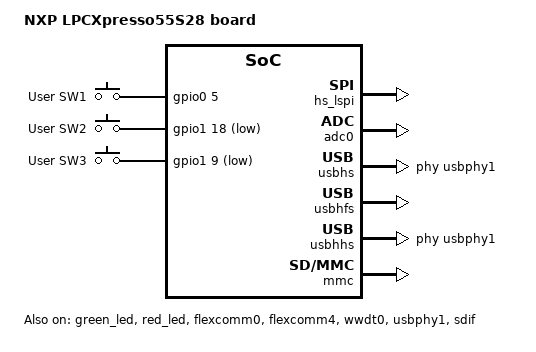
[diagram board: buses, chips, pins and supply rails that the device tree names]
/*
 * Copyright (c) 2020 Lemonbeat GmbH
 * Copyright 2023 NXP
 *
 * SPDX-License-Identifier: Apache-2.0
 */

/dts-v1/;

#include <nxp/nxp_lpc55S2x.dtsi>
#include "lpcxpresso55s28_common.dtsi"
#include <zephyr/dt-bindings/input/input-event-codes.h>

/ {
	compatible = "nxp,lpc55xxx", "nxp,lpc";
	model = "NXP LPCXpresso55S28 board";

	aliases {
		sw0 = &user_button_1;
		sw1 = &user_button_2;
		sw2 = &user_button_3;
		watchdog0 = &wwdt0;
		accel0 = &mma8652fc;
		mcuboot-button0 = &user_button_1;
	};

	chosen {
		zephyr,sram = &sram0;
		zephyr,flash = &flash0;
		zephyr,code-partition = &slot0_partition;
		zephyr,uart-mcumgr = &flexcomm0;
		zephyr,console = &flexcomm0;
		zephyr,shell-uart = &flexcomm0;
		zephyr,entropy = &rng;
		zephyr,flash-controller = &iap;
	};

	gpio_keys {
		compatible = "gpio-keys";

		user_button_1: button_0 {
			label = "User SW1";
			gpios = <&gpio0 5 (GPIO_ACTIVE_HIGH | GPIO_PULL_UP)>;
			zephyr,code = <INPUT_KEY_0>;
		};

		user_button_2: button_1 {
			label = "User SW2";
			gpios = <&gpio1 18 (GPIO_ACTIVE_LOW | GPIO_PULL_UP)>;
			zephyr,code = <INPUT_KEY_1>;
		};

		user_button_3: button_2 {
			label = "User SW3";
			gpios = <&gpio1 9 (GPIO_ACTIVE_LOW | GPIO_PULL_UP)>;
			zephyr,code = <INPUT_KEY_2>;
		};
	};
};

&gpio0 {
	status = "okay";
};

&gpio1 {
	status = "okay";
};

&green_led {
	status = "okay";
};

&red_led {
	status = "okay";
};

&flexcomm0 {
	status = "okay";
};

&flexcomm4 {
	status = "okay";
};

&hs_lspi {
	dmas = <&dma0 2>, <&dma0 3>;
	dma-names = "rx", "tx";
	status = "okay";
};

&wwdt0 {
	status = "okay";
};

&adc0 {
	pinctrl-0 = <&pinmux_lpadc0>;
	pinctrl-names = "default";
	status = "okay";
};

&dma0 {
	status = "okay";
};

&flash0 {
	partitions {
		compatible = "fixed-partitions";
		#address-cells = <1>;
		#size-cells = <1>;

		boot_partition: partition@0 {
			reg = <0x0 DT_SIZE_K(32)>;
			label = "mcuboot";
		};

		slot0_partition: partition@8000 {
			reg = <0x00008000 DT_SIZE_K(208)>;
			label = "image-0";
		};

		slot1_partition: partition@3C000 {
			reg = <0x0003C000 DT_SIZE_K(208)>;
			label = "image-1";
		};

		storage_partition: partition@70000 {
			reg = <0x00070000 DT_SIZE_K(52)>;
			label = "storage";
		};
		/* The last 12KBs are reserved for PFR. */
	};
};

zephyr_udc0: &usbhs {
	phy-handle = <&usbphy1>;
	status = "okay";
};

zephyr_uhc0: &usbhfs {
	pinctrl-0 = <&pinmux_usbhfs>;
	pinctrl-names = "default";
	status = "okay";
};

zephyr_uhc1: &usbhhs {
	pinctrl-0 = <&pinmux_usbhhs>;
	pinctrl-names = "default";
	phy-handle = <&usbphy1>;
	status = "okay";
};

&usbphy1 {
	tx-d-cal = <5>;
	tx-cal-45-dp-ohms = <10>;
	tx-cal-45-dm-ohms = <10>;
	status = "okay";
};

&sdif {
	pinctrl-0 = <&pinmux_sdif_default>;
	pinctrl-names = "default";
	status = "okay";

	mmc {
		compatible = "zephyr,sdmmc-disk";
		disk-name = "SD";
		status = "okay";
	};
};
